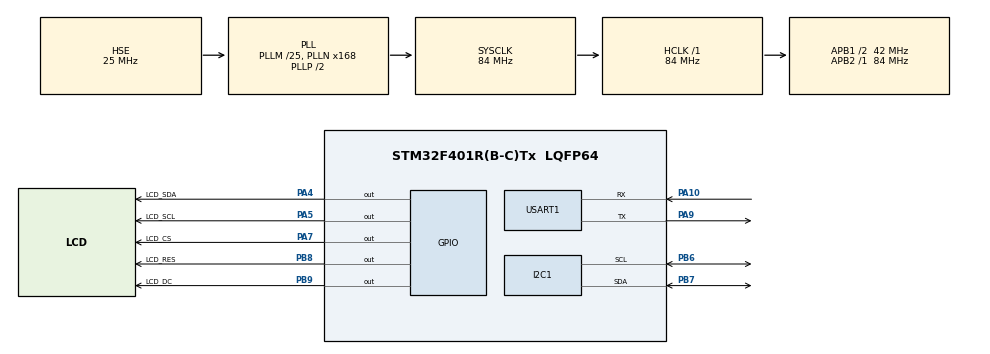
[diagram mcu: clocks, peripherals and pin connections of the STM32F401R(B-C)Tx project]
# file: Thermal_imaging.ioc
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FREERTOS.Tasks01=defaultTask,24,128,StartDefaultTask,Default,NULL,Dynamic,NULL,NULL;MLX90640Show,24,512,MLX90640GetDataTask,As weak,NULL,Dynamic,NULL,NULL
Mcu.Family=STM32F4
Mcu.Name=STM32F401R(B-C)Tx
Mcu.Package=LQFP64
NVIC.I2C1_EV_IRQn=true\:5\:0\:false\:false\:true\:true\:true\:true\:true
NVIC.PriorityGroup=NVIC_PRIORITYGROUP_4
NVIC.TIM4_IRQn=true\:15\:0\:false\:false\:true\:false\:false\:true\:true
NVIC.TimeBase=TIM4_IRQn
NVIC.TimeBaseIP=TIM4
NVIC.USART1_IRQn=true\:5\:0\:false\:false\:true\:true\:true\:true\:true
PA10.Mode=Asynchronous
PA10.Signal=USART1_RX
PA13.Mode=Serial_Wire
PA13.Signal=SYS_JTMS-SWDIO
PA14.Mode=Serial_Wire
PA14.Signal=SYS_JTCK-SWCLK
PA4.GPIO_Label=LCD_SDA
PA4.GPIO_Speed=GPIO_SPEED_FREQ_HIGH
PA4.PinState=GPIO_PIN_SET
PA4.Signal=GPIO_Output
PA5.GPIO_Label=LCD_SCL
PA5.GPIO_Speed=GPIO_SPEED_FREQ_HIGH
PA5.Signal=GPIO_Output
PA7.GPIO_Label=LCD_CS
PA7.GPIO_Speed=GPIO_SPEED_FREQ_HIGH
PA7.PinState=GPIO_PIN_SET
PA7.Signal=GPIO_Output
PA9.Mode=Asynchronous
PA9.Signal=USART1_TX
PB6.Mode=I2C
PB6.Signal=I2C1_SCL
PB7.Mode=I2C
PB7.Signal=I2C1_SDA
PB8.GPIO_Label=LCD_RES
PB8.GPIO_Speed=GPIO_SPEED_FREQ_HIGH
PB8.PinState=GPIO_PIN_SET
PB8.Signal=GPIO_Output
PB9.GPIO_Label=LCD_DC
PB9.GPIO_Speed=GPIO_SPEED_FREQ_HIGH
PB9.PinState=GPIO_PIN_SET
PB9.Signal=GPIO_Output
PH0\ -\ OSC_IN.Mode=HSE-External-Oscillator
PH0\ -\ OSC_IN.Signal=RCC_OSC_IN
PH1\ -\ OSC_OUT.Mode=HSE-External-Oscillator
PH1\ -\ OSC_OUT.Signal=RCC_OSC_OUT
ProjectManager.HeapSize=0x200
ProjectManager.StackSize=0x400
ProjectManager.TargetToolchain=CMake
RCC.48MHZClocksFreq_Value=42000000
RCC.AHBFreq_Value=84000000
RCC.APB1CLKDivider=RCC_HCLK_DIV2
RCC.APB1Freq_Value=42000000
RCC.APB1TimFreq_Value=84000000
RCC.APB2Freq_Value=84000000
RCC.APB2TimFreq_Value=84000000
RCC.CortexFreq_Value=84000000
RCC.HCLKFreq_Value=84000000
RCC.HSE_VALUE=25000000
RCC.HSI_VALUE=16000000
RCC.LSE_VALUE=32768
RCC.PLLM=25
RCC.PLLN=168
RCC.PLLSourceVirtual=RCC_PLLSOURCE_HSE
RCC.SYSCLKFreq_VALUE=84000000
RCC.SYSCLKSource=RCC_SYSCLKSOURCE_PLLCLK
RCC.VCOOutputFreq_Value=168000000
USART1.VirtualMode=VM_ASYNC
VP_FREERTOS_VS_CMSIS_V2.Mode=CMSIS_V2
VP_SYS_VS_tim4.Mode=TIM4
board=custom

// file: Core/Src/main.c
/* USER CODE BEGIN Header */
/**
  ******************************************************************************
  * @file           : main.c
  * @brief          : Main program body
  ******************************************************************************
  * @attention
  *
  * Copyright (c) 2025 STMicroelectronics.
  * All rights reserved.
  *
  * This software is licensed under terms that can be found in the LICENSE file
  * in the root directory of this software component.
  * If no LICENSE file comes with this software, it is provided AS-IS.
  *
  ******************************************************************************
  */
/* USER CODE END Header */
#include "main.h"
#include "LCD.h"
#include "cmsis_os.h"
#include "i2c.h"
#include "usart.h"
#include "gpio.h"

/* USER CODE BEGIN Includes */
// #include "LCD.h"
// #include "MLX90640_I2C_Driver.h"
// #include <stdint.h>
// #include <stdio.h>
// #include <string.h>
// #include <stdarg.h>
// #include "IMG.h"

/* USER CODE END Includes */

/* USER CODE BEGIN PTD */

uint16_t frame[834] = {0};
uint16_t eeMLX90640[832] = {0};
float mlx90640To[768] = {0};
paramsMLX90640 mlx90640 = {0};
float emissivity=0.95;
uint16_t mlx90640_step=0;

// uint16_t show_list[128*160];

/* USER CODE END PTD */

void SystemClock_Config(void);
void MX_FREERTOS_Init(void);

/* USER CODE BEGIN 0 */

// void HAL_I2C_MemRxCpltCallback(I2C_HandleTypeDef *I2c_Handle){
// 	mlx90640_step=1;
// 	MLX90640_GetFrameData_IT(MLX90640_ADDR, frame,&mlx90640_step);
// }

// int __io_putchar(int ch)
// {
//     HAL_UART_Transmit(&huart1, (uint8_t *)&ch, 1, HAL_MAX_DELAY);
//     return ch;
// }

void my_printf(const char *format, ...)
{
    char buffer[256];  // 缓冲区大小可以根据需要调整
    va_list args;

    va_start(args, format);
    vsnprintf(buffer, sizeof(buffer), format, args);
    va_end(args);

    HAL_UART_Transmit(&huart1, (uint8_t *)buffer, strlen(buffer), 1000);
}

// void uart_printf(const char *format, ...)
// {
//     char buffer[256];
//     va_list args;
//     va_start(args, format);
//     vsnprintf(buffer, sizeof(buffer), format, args);
//     va_end(args);
//     HAL_UART_Transmit(&huart1, (uint8_t *)buffer, strlen(buffer), HAL_MAX_DELAY);
// }

/* USER CODE END 0 */

int main(void)
{

  /* USER CODE BEGIN 1 */

  // float ta, tr;

  /* USER CODE END 1 */

  /* MCU Configuration--------------------------------------------------------*/

  /* Reset of all peripherals, Initializes the Flash interface and the Systick. */
  HAL_Init();

  /* Configure the system clock */
  SystemClock_Config();

  /* Initialize all configured peripherals */
  MX_GPIO_Init();
  MX_USART1_UART_Init();
  MX_I2C1_Init();
  /* USER CODE BEGIN 2 */

  // my_printf("test\n");

  LCD_Init();
  LCD_FillScreen(0x0000);

  // LCD_ShowSignedNumTrpbg(1, 1, 12, 3, Color_White);
  // LCD_ShowSignedNum(2, 1, 12, 3, Color_White, Color_Black);

  // uint16_t test = 0;
  // MLX90640_I2CRead(MLX90640_ADDR, 0x800D, 1, &test);
  // LCD_ShowHexNum(1, 0, test, 4, Color_White, Color_Black);

  //init and config MLX90640
  MLX90640_SetRefreshRate(MLX90640_ADDR, 5);
  uint8_t error = MLX90640_SetChessMode(MLX90640_ADDR);
  if(error!= 0) {
    LCD_ShowString(0, 0, "set chess mode error", Color_White, Color_Black);
  }

  MLX90640_DumpEE(MLX90640_ADDR, eeMLX90640);
  MLX90640_ExtractParameters(eeMLX90640, &mlx90640);

  // uint16_t statusRegister;
  // do {
  //     MLX90640_I2CRead(MLX90640_ADDR, MLX90640_STATUS_REG, 1, &statusRegister);
  //     HAL_Delay(1);
  //     my_printf("waiting for subpage 0\n");
  // } while((statusRegister & 0x000F) != 0b1000);

  // // uint16_t test;

  // // MLX90640_I2CRead(MLX90640_ADDR, 0x700, 1, &test);
  // // my_printf("data read 420: %x\n", test);

  // uint8_t subpage = MLX90640_GetFrameData(MLX90640_ADDR, frame);
  // if(subpage != 0) {
  //   my_printf("getting subpage0 error\n");
  // }
  // my_printf("got subpage0\n");

  // // for(int i = 0; i < 768; i++) {
  // //   my_printf("sp1[%d]: %x\n", i, frame[i]);
  // // }

  // ta = MLX90640_GetTa(frame, &mlx90640);
  // tr = ta - TA_SHIFT;
  // MLX90640_CalculateTo(frame, &mlx90640, emissivity, tr, mlx90640To);

  // subpage = MLX90640_GetFrameData(MLX90640_ADDR, frame);
  // if(subpage != 1) {
  //   my_printf("getting subpage0 error\n");
  // }
  // my_printf("got subpage1\n");

  // // for(int i = 0; i < 768; i++) {
  // //   my_printf("sp2[%d]: %x\n", i, frame[i]);
  // // }

  // ta = MLX90640_GetTa(frame, &mlx90640);
  // tr = ta - TA_SHIFT;
  // MLX90640_CalculateTo(frame, &mlx90640, emissivity, tr, mlx90640To);

  // // my_printf("data[0]: %x && data[420]: %x\n", frame[0],frame[420]);

  // my_printf("data ready\n");

  // // for(int i = 0; i < 768; i++) {
  // //   my_printf("temp[%d]: %f\n", i, mlx90640To[i]);
  // // }

  // // MLX90640_I2CRead(MLX90640_ADDR, 0x710, 1, &test);
  // // my_printf("data read 0x710: %x\n", test);

  // float maxTemp, minTemp = 0;
  // uint16_t maxAddr[2], minAddr[2];
  // temp_limit(mlx90640To, &maxTemp, maxAddr, &minTemp, minAddr);
  // uint16_t color_list[256];
  // color_listcode(color_list, 1);
  // display_code(mlx90640To, color_list, 1, maxTemp, minTemp);

  // for(uint8_t i = 0; i < 128; i++) {
  //   for(uint8_t j = 0; j < 160; j++) {
  //     LCD_DrawPoint(i, j, show_list[i*160+j]);
  //   }
  // }

  /* USER CODE END 2 */

  /* Init scheduler */
  osKernelInitialize();  /* Call init function for freertos objects (in cmsis_os2.c) */
  MX_FREERTOS_Init();

  /* Start scheduler */
  osKernelStart();

  /* We should never get here as control is now taken by the scheduler */

  /* Infinite loop */
  while (1)
  {

  }
}

void SystemClock_Config(void)
{
  RCC_OscInitTypeDef RCC_OscInitStruct = {0};
  RCC_ClkInitTypeDef RCC_ClkInitStruct = {0};

  /** Configure the main internal regulator output voltage
  */
  __HAL_RCC_PWR_CLK_ENABLE();
  __HAL_PWR_VOLTAGESCALING_CONFIG(PWR_REGULATOR_VOLTAGE_SCALE2);

  /** Initializes the RCC Oscillators according to the specified parameters
  * in the RCC_OscInitTypeDef structure.
  */
  RCC_OscInitStruct.OscillatorType = RCC_OSCILLATORTYPE_HSE;
  RCC_OscInitStruct.HSEState = RCC_HSE_ON;
  RCC_OscInitStruct.PLL.PLLState = RCC_PLL_ON;
  RCC_OscInitStruct.PLL.PLLSource = RCC_PLLSOURCE_HSE;
  RCC_OscInitStruct.PLL.PLLM = 25;
  RCC_OscInitStruct.PLL.PLLN = 168;
  RCC_OscInitStruct.PLL.PLLP = RCC_PLLP_DIV2;
  RCC_OscInitStruct.PLL.PLLQ = 4;
  if (HAL_RCC_OscConfig(&RCC_OscInitStruct) != HAL_OK)
  {
    Error_Handler();
  }

  /** Initializes the CPU, AHB and APB buses clocks
  */
  RCC_ClkInitStruct.ClockType = RCC_CLOCKTYPE_HCLK|RCC_CLOCKTYPE_SYSCLK
                              |RCC_CLOCKTYPE_PCLK1|RCC_CLOCKTYPE_PCLK2;
  RCC_ClkInitStruct.SYSCLKSource = RCC_SYSCLKSOURCE_PLLCLK;
  RCC_ClkInitStruct.AHBCLKDivider = RCC_SYSCLK_DIV1;
  RCC_ClkInitStruct.APB1CLKDivider = RCC_HCLK_DIV2;
  RCC_ClkInitStruct.APB2CLKDivider = RCC_HCLK_DIV1;

  if (HAL_RCC_ClockConfig(&RCC_ClkInitStruct, FLASH_LATENCY_2) != HAL_OK)
  {
    Error_Handler();
  }
}

void HAL_TIM_PeriodElapsedCallback(TIM_HandleTypeDef *htim)
{
  if (htim->Instance == TIM4)
  {
    HAL_IncTick();
  }
}

void Error_Handler(void)
{
  __disable_irq();
  while (1)
  {
  }
}

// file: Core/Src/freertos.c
/* USER CODE BEGIN Header */
/**
  ******************************************************************************
  * File Name          : freertos.c
  * Description        : Code for freertos applications
  ******************************************************************************
  * @attention
  *
  * Copyright (c) 2025 STMicroelectronics.
  * All rights reserved.
  *
  * This software is licensed under terms that can be found in the LICENSE file
  * in the root directory of this software component.
  * If no LICENSE file comes with this software, it is provided AS-IS.
  *
  ******************************************************************************
  */
/* USER CODE END Header */

#include "FreeRTOS.h"
#include "LCD.h"
#include "task.h"
#include "main.h"
#include "cmsis_os.h"

/* USER CODE BEGIN Includes */
#include "i2c.h"
#include "MLX90640_API.h"
#include <stdint.h>
/* USER CODE END Includes */

/* Definitions for defaultTask */
osThreadId_t defaultTaskHandle;
const osThreadAttr_t defaultTask_attributes = {
  .name = "defaultTask",
  .stack_size = 128 * 4,
  .priority = (osPriority_t) osPriorityNormal,
};
/* Definitions for MLX90640Show */
osThreadId_t MLX90640ShowHandle;
const osThreadAttr_t MLX90640Show_attributes = {
  .name = "MLX90640Show",
  .stack_size = 512 * 4,
  .priority = (osPriority_t) osPriorityNormal,
};

void StartDefaultTask(void *argument);
void MLX90640GetDataTask(void *argument);

void MX_FREERTOS_Init(void); /* (MISRA C 2004 rule 8.1) */

void MX_FREERTOS_Init(void) {

  /* Create the thread(s) */
  /* creation of defaultTask */
  defaultTaskHandle = osThreadNew(StartDefaultTask, NULL, &defaultTask_attributes);

  /* creation of MLX90640Show */
  MLX90640ShowHandle = osThreadNew(MLX90640GetDataTask, NULL, &MLX90640Show_attributes);

}

void StartDefaultTask(void *argument)
{
  for(;;)
  {
    osDelay(1);
  }
}

__weak void MLX90640GetDataTask(void *argument)
{
  /* USER CODE BEGIN MLX90640GetDataTask */
  /* Infinite loop */
  for(;;)
  {

    float ta, tr;
    uint16_t statusRegister;
    do {
        MLX90640_I2CRead(MLX90640_ADDR, MLX90640_STATUS_REG, 1, &statusRegister);
        osDelay(1);
        my_printf("waiting for subpage 0\n");
    } while((statusRegister & 0x000F) != 0b1000);

    // uint16_t test;

    // MLX90640_I2CRead(MLX90640_ADDR, 0x700, 1, &test);
    // my_printf("data read 420: %x\n", test);

    uint8_t subpage = MLX90640_GetFrameData(MLX90640_ADDR, frame);
    if(subpage != 0) {
      my_printf("getting subpage0 error\n");
    }
    my_printf("got subpage0\n");

    // for(int i = 0; i < 768; i++) {
    //   my_printf("sp1[%d]: %x\n", i, frame[i]);
    // }

    ta = MLX90640_GetTa(frame, &mlx90640);
    tr = ta - TA_SHIFT;
    float emissivity = 0.95;
    MLX90640_CalculateTo(frame, &mlx90640, emissivity, tr, mlx90640To);

    subpage = MLX90640_GetFrameData(MLX90640_ADDR, frame);
    if(subpage != 1) {
      my_printf("getting subpage0 error\n");
    }
    my_printf("got subpage1\n");

    // for(int i = 0; i < 768; i++) {
    //   my_printf("sp2[%d]: %x\n", i, frame[i]);
    // }

    ta = MLX90640_GetTa(frame, &mlx90640);
    tr = ta - TA_SHIFT;
    MLX90640_CalculateTo(frame, &mlx90640, emissivity, tr, mlx90640To);

    // my_printf("data[0]: %x && data[420]: %x\n", frame[0],frame[420]);

    my_printf("data ready\n");

    // for(int i = 0; i < 768; i++) {
    //   my_printf("temp[%d]: %f\n", i, mlx90640To[i]);
    // }

    // MLX90640_I2CRead(MLX90640_ADDR, 0x710, 1, &test);
    // my_printf("data read 0x710: %x\n", test);

    float maxTemp, minTemp = 0;
    uint16_t maxAddr[2], minAddr[2];
    temp_limit(mlx90640To, &maxTemp, maxAddr, &minTemp, minAddr);
    uint16_t color_list[256];
    color_listcode(color_list, 1);
    display_code(mlx90640To, color_list, 1, maxTemp, minTemp);

    LCD_ShowStringTrpbg(0, 0, "max:", Color_Black);
    LCD_ShowSignedNumTrpbg(0, 4, (uint32_t)maxTemp, 3, Color_Black);
    LCD_ShowStringTrpbg(0, 8, "min:", Color_Black);
    LCD_ShowSignedNumTrpbg(0, 12, (uint32_t)minTemp, 3, Color_Black);

    osDelay(1);
  }
  /* USER CODE END MLX90640GetDataTask */
}
